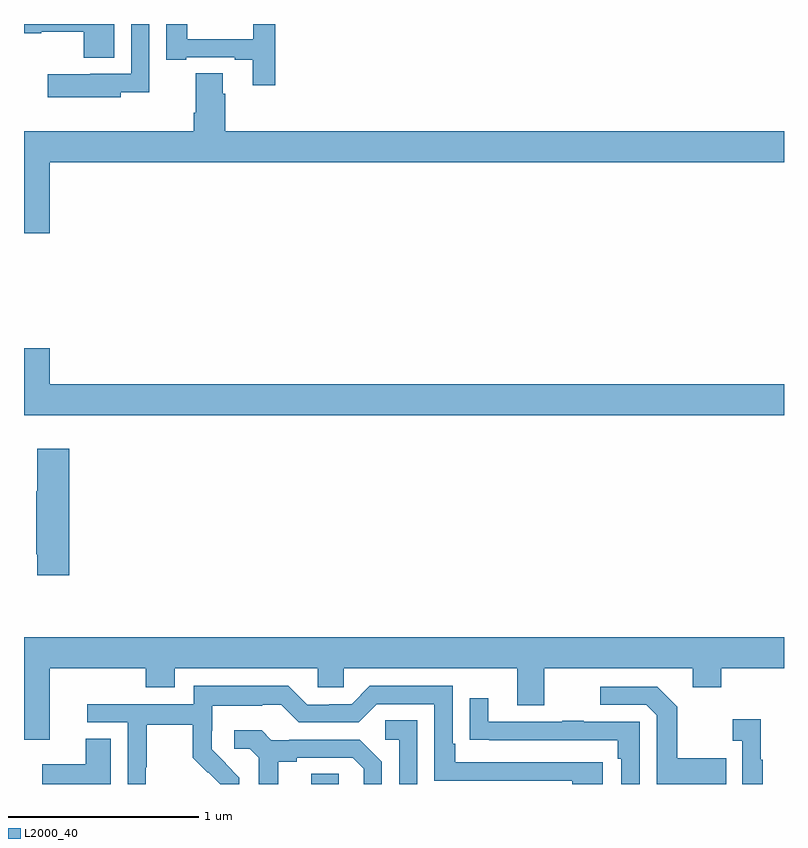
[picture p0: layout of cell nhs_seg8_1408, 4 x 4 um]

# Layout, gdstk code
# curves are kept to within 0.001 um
import gdstk
lib = gdstk.Library(unit=1e-6, precision=1e-09)
def R(c, l, rs):  # rectangles x0, y0, x1, y1
    for r in rs: c.add(gdstk.rectangle(r[:2], r[2:], *l))
def P(c, l, *ps):  # polygons
    for p in ps: c.add(gdstk.Polygon(p, *l))
L2000_40 = (2000, 40)

nhs_seg8_1408 = lib.new_cell('nhs_seg8_1408')
R(nhs_seg8_1408, L2000_40, [(202.511,1107.9,202.656,1107.953)])
P(nhs_seg8_1408, L2000_40, [(201.475,1111.9),(201,1111.9),(201,1111.852),(201.09,1111.852),(201.09,1111.859),(201.314,1111.859),(201.314,1111.723),(201.475,1111.723)],
  [(202.322,1111.9),(202.206,1111.9),(202.206,1111.821),(201.859,1111.821),(201.859,1111.9),(201.749,1111.9),(201.749,1111.713),(201.853,1111.713),(201.853,1111.725),(202.109,1111.725),(202.109,1111.713),(202.205,1111.713),(202.205,1111.578),(202.322,1111.578)],
  [(201.51,1111.541),(201.66,1111.541),(201.66,1111.9),(201.564,1111.9),(201.564,1111.638),(201.348,1111.638),(201.348,1111.636),(201.126,1111.636),(201.126,1111.514),(201.51,1111.514)],
  [(201.136,1111.172),(205,1111.172),(205,1111.336),(202.058,1111.336),(202.058,1111.532),(202.045,1111.532),(202.045,1111.64),(201.905,1111.64),(201.905,1111.432),(201.893,1111.432),(201.893,1111.336),(201,1111.336),(201,1110.798),(201.136,1110.798)],
  [(205,1110.004),(201.136,1110.004),(201.136,1110.193),(201,1110.193),(201,1109.84),(205,1109.84)],
  [(201.239,1109.665),(201.071,1109.665),(201.071,1109.441),(201.064,1109.441),(201.064,1109.11),(201.071,1109.11),(201.071,1108.998),(201.239,1108.998)],
  [(201.136,1108.508),(201.641,1108.508),(201.641,1108.409),(201.793,1108.409),(201.793,1108.508),(202.545,1108.508),(202.545,1108.41),(202.683,1108.41),(202.683,1108.508),(203.597,1108.508),(203.597,1108.314),(203.737,1108.314),(203.737,1108.508),(204.521,1108.508),(204.521,1108.409),(204.669,1108.409),(204.669,1108.508),(205,1108.508),(205,1108.672),(201,1108.672),(201,1108.134),(201.136,1108.134)],
  [(201.642,1107.988),(201.645,1107.988),(201.645,1108.212),(201.889,1108.212),(201.889,1108.037),(201.966,1107.96),(201.969,1107.963),(202.033,1107.9),(202.134,1107.9),(202.134,1107.934),(201.988,1108.082),(201.988,1108.179),(201.99,1108.179),(201.99,1108.313),(202.253,1108.313),(202.253,1108.317),(202.353,1108.317),(202.446,1108.224),(202.761,1108.224),(202.857,1108.32),(203.16,1108.32),(203.16,1107.918),(203.885,1107.918),(203.885,1107.9),(204.046,1107.9),(204.046,1108.014),(203.269,1108.014),(203.269,1108.111),(203.256,1108.111),(203.256,1108.416),(202.821,1108.416),(202.725,1108.32),(202.607,1108.32),(202.607,1108.317),(202.491,1108.317),(202.391,1108.417),(201.894,1108.417),(201.894,1108.32),(201.333,1108.32),(201.333,1108.224),(201.546,1108.224),(201.546,1107.9),(201.642,1107.9)],
  [(204.695,1108.035),(204.439,1108.035),(204.439,1108.307),(204.333,1108.413),(204.033,1108.413),(204.033,1108.317),(204.276,1108.317),(204.33,1108.263),(204.33,1107.9),(204.695,1107.9)],
  [(204.24,1108.227),(203.945,1108.227),(203.945,1108.232),(203.833,1108.232),(203.833,1108.227),(203.443,1108.227),(203.443,1108.351),(203.347,1108.351),(203.347,1108.132),(203.449,1108.132),(203.449,1108.131),(204.124,1108.131),(204.124,1108.034),(204.144,1108.034),(204.144,1107.9),(204.24,1107.9)],
  [(204.889,1108.027),(204.877,1108.027),(204.877,1108.24),(204.729,1108.24),(204.729,1108.127),(204.78,1108.127),(204.78,1107.9),(204.889,1107.9)],
  [(203.07,1108.235),(202.902,1108.235),(202.902,1108.134),(202.974,1108.134),(202.974,1107.9),(203.07,1107.9)],
  [(202.339,1108.016),(202.435,1108.016),(202.435,1108.038),(202.73,1108.038),(202.787,1107.981),(202.787,1107.9),(202.884,1107.9),(202.884,1108.018),(202.768,1108.134),(202.396,1108.134),(202.396,1108.131),(202.302,1108.131),(202.25,1108.183),(202.107,1108.183),(202.107,1108.086),(202.188,1108.086),(202.235,1108.039),(202.235,1107.9),(202.339,1107.9)],
  [(201.457,1108.139),(201.326,1108.139),(201.326,1108.003),(201.096,1108.003),(201.096,1107.9),(201.457,1107.9)])

lib.write_gds('nhs_seg8_1408.gds')
